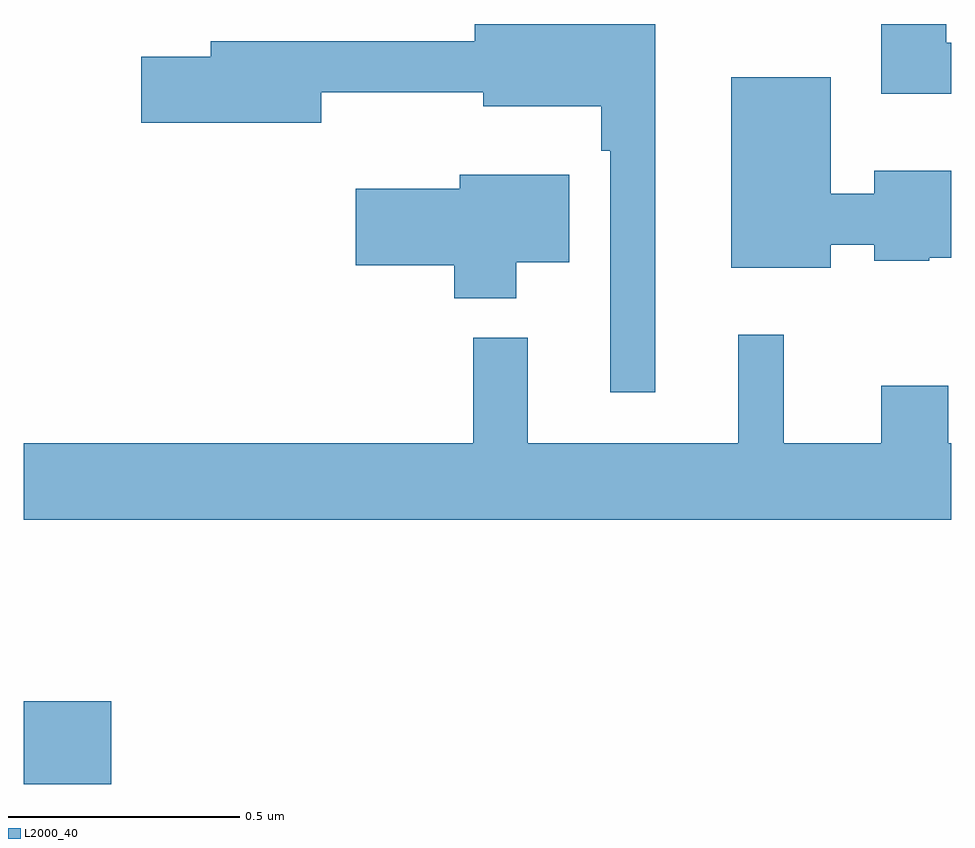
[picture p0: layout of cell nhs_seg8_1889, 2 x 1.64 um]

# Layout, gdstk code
import gdstk
lib = gdstk.Library(unit=1e-6, precision=1e-09)
def R(c, l, rs):  # rectangles x0, y0, x1, y1
    for r in rs: c.add(gdstk.rectangle(r[:2], r[2:], *l))
def P(c, l, *ps):  # polygons
    for p in ps: c.add(gdstk.Polygon(p, *l))
L2000_40 = (2000, 40)

nhs_seg8_1889 = lib.new_cell('nhs_seg8_1889')
R(nhs_seg8_1889, L2000_40, [(136,1117.262,136.189,1117.44)])
P(nhs_seg8_1889, L2000_40, [(138,1118.86),(137.989,1118.86),(137.989,1118.9),(137.849,1118.9),(137.849,1118.75),(138,1118.75)],
  [(137.362,1118.9),(136.972,1118.9),(136.972,1118.863),(136.403,1118.863),(136.403,1118.829),(136.254,1118.829),(136.254,1118.687),(136.642,1118.687),(136.642,1118.753),(136.991,1118.753),(136.991,1118.723),(137.245,1118.723),(137.245,1118.627),(137.265,1118.627),(137.265,1118.106),(137.362,1118.106)],
  [(137.74,1118.424),(137.834,1118.424),(137.834,1118.39),(137.952,1118.39),(137.952,1118.396),(138,1118.396),(138,1118.584),(137.834,1118.584),(137.834,1118.534),(137.74,1118.534),(137.74,1118.785),(137.525,1118.785),(137.525,1118.375),(137.74,1118.375)],
  [(137.062,1118.387),(137.176,1118.387),(137.176,1118.575),(136.94,1118.575),(136.94,1118.545),(136.716,1118.545),(136.716,1118.38),(136.928,1118.38),(136.928,1118.309),(137.062,1118.309)],
  [(138,1117.996),(137.993,1117.996),(137.993,1118.12),(137.849,1118.12),(137.849,1117.996),(137.639,1117.996),(137.639,1118.23),(137.54,1118.23),(137.54,1117.996),(137.087,1117.996),(137.087,1118.224),(136.969,1118.224),(136.969,1117.996),(136,1117.996),(136,1117.832),(138,1117.832)])

lib.write_gds('nhs_seg8_1889.gds')
